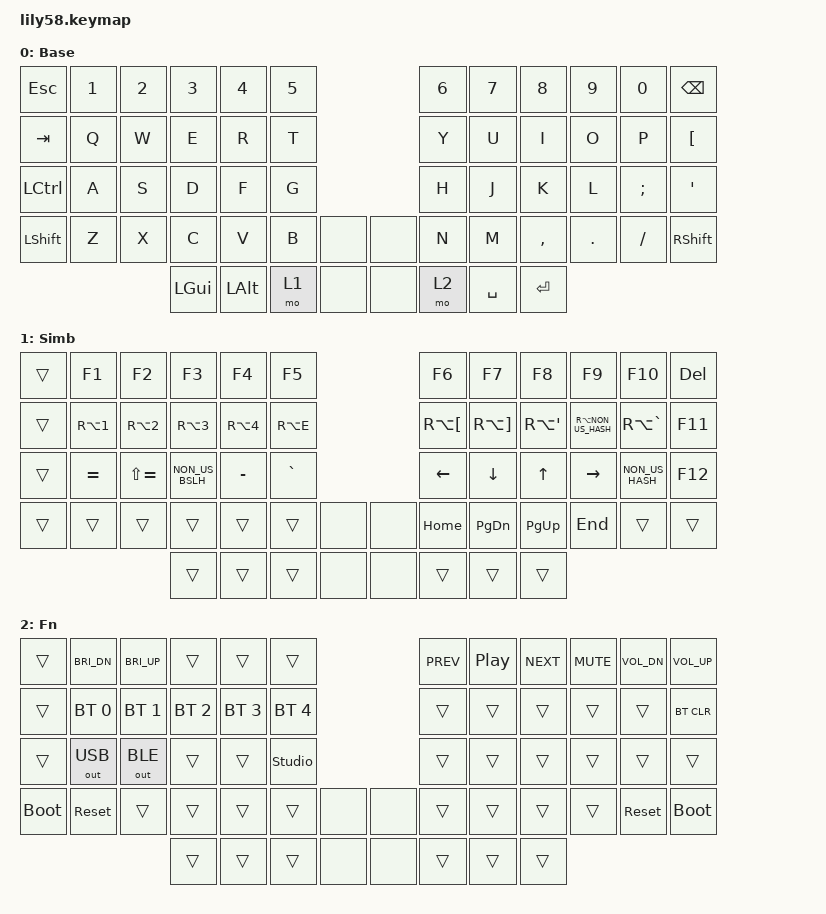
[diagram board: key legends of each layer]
#include <behaviors.dtsi>
#include <dt-bindings/zmk/keys.h>
#include <dt-bindings/zmk/bt.h>
#include <dt-bindings/zmk/outputs.h>

// Layout pensado para macOS con fuente de entrada "Español - ISO".
// ñ = SEMI, ´ (acentos) = SQT, símbolos AltGr en la capa 1, BT/Studio en la capa 2.

/ {
    keymap {
        compatible = "zmk,keymap";

        base_layer {
            display-name = "Base";
            bindings = <
&kp ESC    &kp N1     &kp N2    &kp N3    &kp N4    &kp N5              &kp N6    &kp N7    &kp N8     &kp N9    &kp N0     &kp BSPC
&kp TAB    &kp Q      &kp W     &kp E     &kp R     &kp T               &kp Y     &kp U     &kp I      &kp O     &kp P      &kp LBKT
&kp LCTRL  &kp A      &kp S     &kp D     &kp F     &kp G               &kp H     &kp J     &kp K      &kp L     &kp SEMI   &kp SQT
&kp LSHFT  &kp Z      &kp X     &kp C     &kp V     &kp B   &none &none  &kp N     &kp M     &kp COMMA  &kp DOT   &kp SLASH  &kp RSHFT
                                &kp LGUI  &kp LALT  &mo 1   &none &none  &mo 2     &kp SPACE  &kp RET
            >;
        };

        sym_layer {
            display-name = "Simb";
            bindings = <
&trans  &kp F1        &kp F2        &kp F3        &kp F4        &kp F5                  &kp F6     &kp F7     &kp F8     &kp F9     &kp F10        &kp DEL
&trans  &kp RA(N1)    &kp RA(N2)    &kp RA(N3)    &kp RA(N4)    &kp RA(E)               &kp RA(LBKT) &kp RA(RBKT) &kp RA(SQT) &kp RA(NON_US_HASH) &kp RA(GRAVE) &kp F11
&trans  &kp EQUAL     &kp LS(EQUAL) &kp NON_US_BSLH &kp MINUS  &kp GRAVE               &kp LEFT   &kp DOWN   &kp UP     &kp RIGHT  &kp NON_US_HASH &kp F12
&trans  &trans        &trans        &trans        &trans       &trans  &none &none      &kp HOME   &kp PG_DN  &kp PG_UP  &kp END    &trans         &trans
                                    &trans        &trans       &trans  &none &none      &trans     &trans     &trans
            >;
        };

        fn_layer {
            display-name = "Fn";
            bindings = <
&trans       &kp C_BRI_DN   &kp C_BRI_UP   &trans        &trans        &trans                &kp C_PREV  &kp C_PP    &kp C_NEXT  &kp C_MUTE  &kp C_VOL_DN  &kp C_VOL_UP
&trans       &bt BT_SEL 0   &bt BT_SEL 1   &bt BT_SEL 2  &bt BT_SEL 3  &bt BT_SEL 4          &trans      &trans      &trans      &trans      &trans        &bt BT_CLR
&trans       &out OUT_USB   &out OUT_BLE   &trans        &trans        &studio_unlock        &trans      &trans      &trans      &trans      &trans        &trans
&bootloader  &sys_reset     &trans         &trans        &trans        &trans  &none &none    &trans      &trans      &trans      &trans      &sys_reset    &bootloader
                                           &trans        &trans        &trans  &none &none    &trans      &trans      &trans
            >;
        };
    };
};
